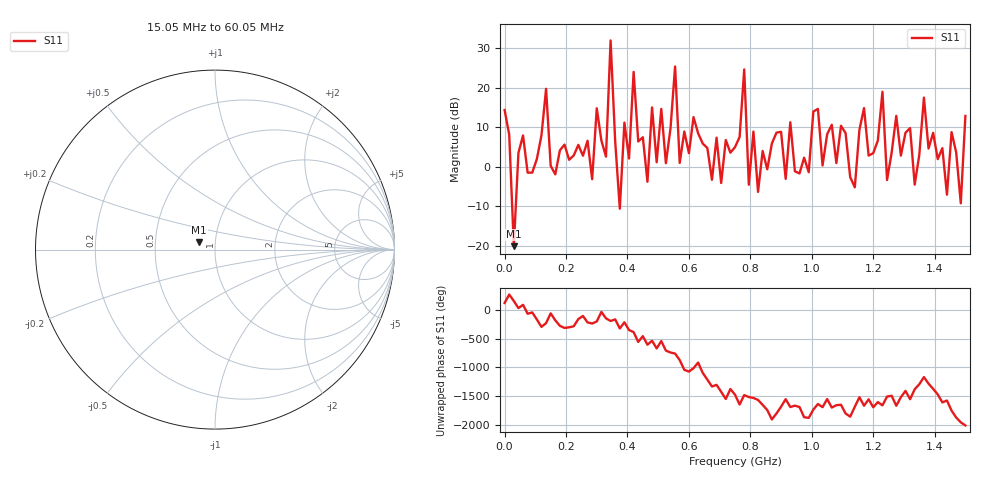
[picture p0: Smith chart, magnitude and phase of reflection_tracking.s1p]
! Created with skrf 1.8.0 (http://scikit-rf.org).
# Hz S RI R 50.0
!freq ReS11 ImS11
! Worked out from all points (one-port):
!   101 points, 50 kHz to 1.5 GHz, reference 50 ohm
!   lowest |S11| = -20.1 dB at 30.05 MHz (marker M1), VSWR 1.22, Z = 41.7 + j3.64 ohm
!   |S11| at or under -10 dB: 24.68 MHz to 36.46 MHz (11.78 MHz wide, 38.5 % of centre); 374.5004 MHz to 375.4578 MHz (957.5 kHz wide, 0.255 % of centre)
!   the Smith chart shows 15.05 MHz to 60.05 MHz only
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50000  -2.685 4.505
3.0049e7  -0.0889 0.0432
1.20046e8  1.087 2.262
1.350455e8  -6.284 7.435
1.50045e8  0.5063 -0.8958
1.950435e8  1.329 1.375
3.30039e8  -1.128 -0.7357
3.450385e8  -38.82 9.148
3.60038e8  -2.031 -0.5405
3.750375e8  0.2353 0.1775
4.050365e8  1.254 0.2215
4.20036e8  14.29 -7.088
4.350355e8  -2.009 0.5936
5.10033e8  -5.402 0.1575
5.40032e8  2.87 -1.063
5.550315e8  14.58 -11.65
5.70031e8  -0.9909 -0.5232
7.50025e8  1.495 -0.9567
7.650245e8  -2.195 0.9424
7.80024e8  13.12 -11.01
7.950235e8  0.1643 -0.5696
9.450185e8  -0.6378 0.6033
1.125012e9  0.4336 -0.6
1.230009e9  -7.053 5.476
1.245008e9  0.2818 -0.6196
1.320006e9  -1.122 -2.888
1.365004e9  0.3375 -7.526
1.5e9  -3.922 2.021
